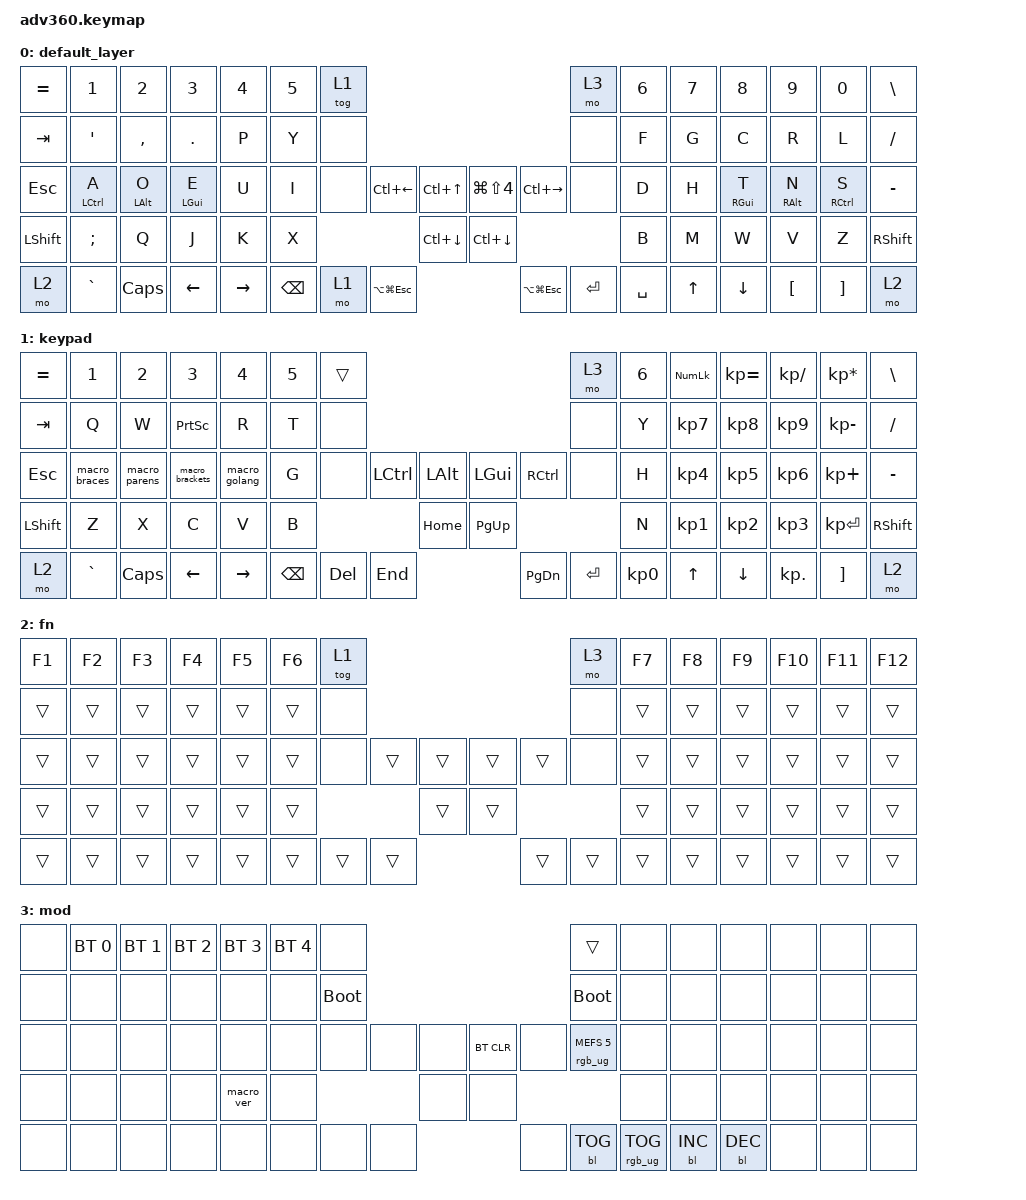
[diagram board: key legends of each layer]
#include <behaviors.dtsi>
#include <dt-bindings/zmk/keys.h>
#include <dt-bindings/zmk/bt.h>
#include <dt-bindings/zmk/rgb.h>
#include <dt-bindings/zmk/backlight.h>

#define KEYS_L   0  1  2  3  4  5  6 \
                14 15 16 17 18 19 20 \
                28 29 30 31 32 33 34 \
                46 47 48 49 50 51    \
                60 61 62 63 64

#define THUMBS_LEFT 35 36 52 65 66 67

#define KEYS_R   7  8  9 10 11 12 13 \
                21 22 23 24 25 26 27 \
                39 40 41 42 43 44 45 \
                   54 55 56 57 58 59 \
                      71 72 73 74 75

#define THUMBS_RIGHT 37 38 53 68 69 70

#define THUMBS THUMBS_LEFT THUMBS_RIGHT

/ {
    behaviors {
      #include "macros.dtsi"
      #include "version.dtsi"
      #ifndef VERSION_MACRO
      macro_ver: macro_ver {
        compatible = "zmk,behavior-macro";
        label = "macro_version";
        #binding-cells = <0>;
        bindings = <&kp RET>;
      };
      #endif
      hm: homerow_mods {
          compatible = "zmk,behavior-hold-tap";
          label = "HOMEROW_MODS";
          #binding-cells = <2>;
          tapping-term-ms = <100>;
          quick_tap_ms = <200>;
          flavor = "balanced";
          bindings = <&kp>, <&kp>;
      };
      hm_l: homerow_mods_left {
          compatible = "zmk,behavior-hold-tap";
          label = "HOMEROW_MODS_LEFT";
          #binding-cells = <2>;
          tapping-term-ms = <200>;
          quick_tap_ms = <175>;
          flavor = "balanced";
          bindings = <&kp>, <&kp>;
          hold-trigger-key-positions = <KEYS_R THUMBS>;
      };
      hm_r: homerow_mods_right {
          compatible = "zmk,behavior-hold-tap";
          label = "HOMEROW_MODS_RIGHT";
          #binding-cells = <2>;
          tapping-term-ms = <200>;
          quick_tap_ms = <175>;
          flavor = "balanced";
          bindings = <&kp>, <&kp>;
          hold-trigger-key-positions = <KEYS_L THUMBS>;
      };
    };

    // Home row mods
    #define _U_SFT &hm_l LSHFT U  // Shift on index fingers
    #define _E_CMD &hm_l LGUI E   // Command on middle fingers
    #define _O_OPT &hm_l LALT O   // Option on ring finger
    #define _A_CTL &hm_l LCTRL A  // Control on index down
    #define _H_SFT &hm_r RSHFT H
    #define _T_CMD &hm_r RGUI T
    #define _N_OPT &hm_r RALT N
    #define _S_CTL &hm_r RCTRL S

    // MacOS shortcuts
    #define _APEX  &kp LC(UP)        // App exposé
    #define _FQUIT &kp LA(LG(ESC))   // Force quit
    #define _MCTL  &kp LC(DOWN)      // Mission control
    #define _SCRNS &kp LG(LS(N4))    // Screenshot
    #define _EMOJI &kp LC(LG(SPACE)) // Emoji picker
    #define _NEXTS &kp LC(RIGHT)     // Next screen
    #define _PREVS &kp LC(LEFT)      // Previous screen

  keymap {
    compatible = "zmk,keymap";

    default_layer {
      bindings = <
        &kp EQUAL &kp N1     &kp N2     &kp N3    &kp N4     &kp N5  &tog 1                                                             &mo 3 &kp N6  &kp N7   &kp N8    &kp N9    &kp N0    &kp BSLH
        &kp TAB   &kp SQT    &kp COMMA  &kp DOT   &kp P      &kp Y   &none                                                              &none &kp F   &kp G    &kp C     &kp R     &kp L     &kp FSLH
        &kp ESC   _A_CTL     _O_OPT     _E_CMD    &kp U      &kp I   &none            _PREVS  _APEX   _SCRNS _NEXTS                     &none &kp D   &kp H    _T_CMD    _N_OPT    _S_CTL    &kp MINUS
        &kp LSHFT &kp SEMI   &kp Q      &kp J     &kp K      &kp X                            _MCTL   _MCTL                                   &kp B   &kp M    &kp W     &kp V     &kp Z     &kp RSHFT
        &mo 2     &kp GRAVE  &kp CAPS   &kp LEFT  &kp RIGHT                  &kp BSPC &mo 1   _FQUIT  _FQUIT &kp ENTER &kp SPACE                      &kp UP   &kp DOWN  &kp LBKT  &kp RBKT  &mo 2
      >;
    };
    keypad {
      bindings = <
        &kp EQUAL &kp N1           &kp N2           &kp N3                 &kp N4             &kp N5 &trans                                                           &mo 3 &kp N6 &kp KP_NUM &kp KP_EQUAL &kp KP_DIVIDE &kp KP_MULTIPLY &kp BSLH
        &kp TAB   &kp Q            &kp W            &kp PSCRN              &kp R              &kp T  &none                                                            &none &kp Y  &kp KP_N7  &kp KP_N8    &kp KP_N9     &kp KP_MINUS    &kp FSLH
        &kp ESC   &macro_braces    &macro_parens    &macro_brackets        &macro_golang      &kp G  &none           &kp LCTRL &kp LALT &kp LGUI  &kp RCTRL           &none &kp H  &kp KP_N4  &kp KP_N5    &kp KP_N6     &kp KP_PLUS     &kp MINUS
        &kp LSHFT &kp Z            &kp X            &kp C                  &kp V              &kp B                            &kp HOME &kp PG_UP                           &kp N  &kp KP_N1  &kp KP_N2    &kp KP_N3     &kp KP_ENTER    &kp RSHFT
        &mo 2     &kp GRAVE        &kp CAPS         &kp LEFT               &kp RIGHT                        &kp BSPC &kp DEL   &kp END  &kp PG_DN &kp ENTER &kp KP_N0              &kp UP     &kp DOWN     &kp KP_DOT    &kp RBKT        &mo 2
      >;
    };
    fn {
      bindings = <
        &kp F1 &kp F2 &kp F3 &kp F4 &kp F5 &kp F6 &tog 1                                           &mo 3 &kp F7 &kp F8 &kp F9 &kp F10 &kp F11 &kp F12
        &trans &trans &trans &trans &trans &trans  &none                                           &none &trans &trans &trans &trans  &trans  &trans
        &trans &trans &trans &trans &trans &trans  &none        &trans &trans &trans &trans        &none &trans &trans &trans &trans  &trans  &trans
        &trans &trans &trans &trans &trans &trans                      &trans &trans                     &trans &trans &trans &trans  &trans  &trans
        &trans &trans &trans &trans &trans               &trans &trans &trans &trans &trans &trans              &trans &trans &trans  &trans  &trans
      >;
    };
    mod {
      bindings = <
        &none &bt BT_SEL 0 &bt BT_SEL 1 &bt BT_SEL 2 &bt BT_SEL 3 &bt BT_SEL 4 &none                                                                     &trans                 &none        &none        &none        &none &none &none
        &none &none        &none        &none        &none        &none        &bootloader                                                               &bootloader            &none        &none        &none        &none &none &none
        &none &none        &none        &none        &none        &none        &none                   &none &none &bt BT_CLR &none                      &rgb_ug RGB_MEFS_CMD 5 &none        &none        &none        &none &none &none
        &none &none        &none        &none        &macro_ver   &none                                      &none &none                                                        &none        &none        &none        &none &none &none
        &none &none        &none        &none        &none                                       &none &none &none &none      &bl BL_TOG &rgb_ug RGB_TOG                                     &bl BL_INC   &bl BL_DEC   &none &none &none
      >;
    };
  };
};
